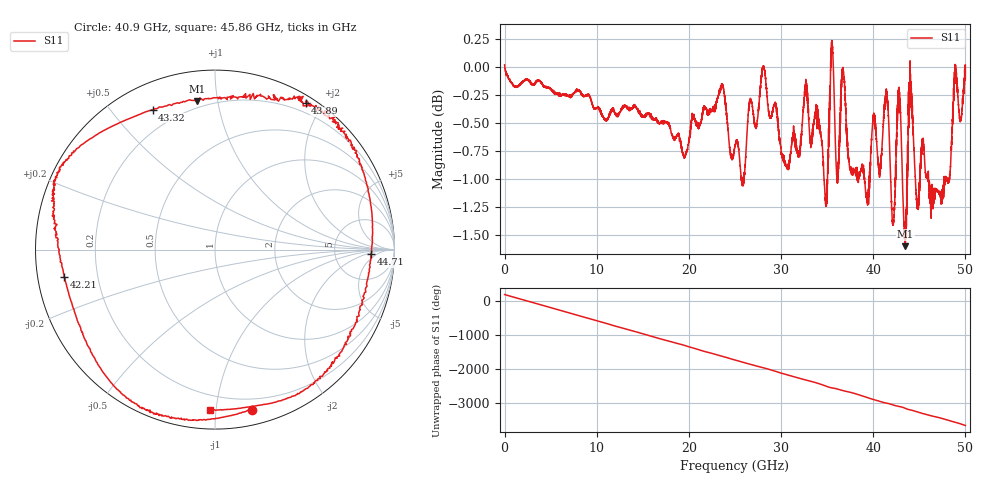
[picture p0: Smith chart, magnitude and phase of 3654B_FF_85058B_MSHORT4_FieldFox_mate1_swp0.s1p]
!Created with skrf (http://scikit-rf.org).
# Hz S RI R 50.0
!freq ReS11 ImS11
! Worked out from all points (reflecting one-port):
!   10000 points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, 5.3 MHz to 50 GHz, reference 50 ohm
!   lowest |S11| = -1.6 dB at 43.47 GHz (marker M1), VSWR 10.91, Z = 8.13 + j43.7 ohm
!   phase of S11 starts at 180 deg and turns -3824 deg over the sweep
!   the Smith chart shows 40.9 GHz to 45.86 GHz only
!   S11 on the Smith chart (normalised r, x): 40.9 GHz: 0.11, -1.25; 42.21 GHz: 0.08, -0.09; 43.32 GHz: 0.11, +0.64; 43.89 GHz: 0.09, +1.79; 44.71 GHz: 14, -3; 45.86 GHz: 0.11, -0.97
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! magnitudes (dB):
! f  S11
! 5.3 MHz  0.0
! 6.255 GHz  -0.2
! 12.51 GHz  -0.4
! 18.76 GHz  -0.6
! 23.58 GHz  -0.2
! 25.01 GHz  -0.7
! 25.89 GHz  -1.1
! 28.08 GHz  0.0
! 31.26 GHz  -0.6
! 32.7 GHz  -0.2
! 34.85 GHz  -1.2
! 35.53 GHz  0.2
! 36.07 GHz  -1.0
! 36.74 GHz  0.0
! 37.51 GHz  -0.9
! 40.9 GHz  -0.8
! 41.46 GHz  -0.2
! 42.21 GHz  -1.4
! 42.79 GHz  -0.3
! 43.32 GHz  -1.4
! 43.47 GHz  -1.6
! 43.76 GHz  -0.7
! 43.89 GHz  -0.4
! 44.71 GHz  -1.2
! 45.86 GHz  -1.0
! 48.13 GHz  -1.0
! 48.87 GHz  -0.1
! 50 GHz  0.0
